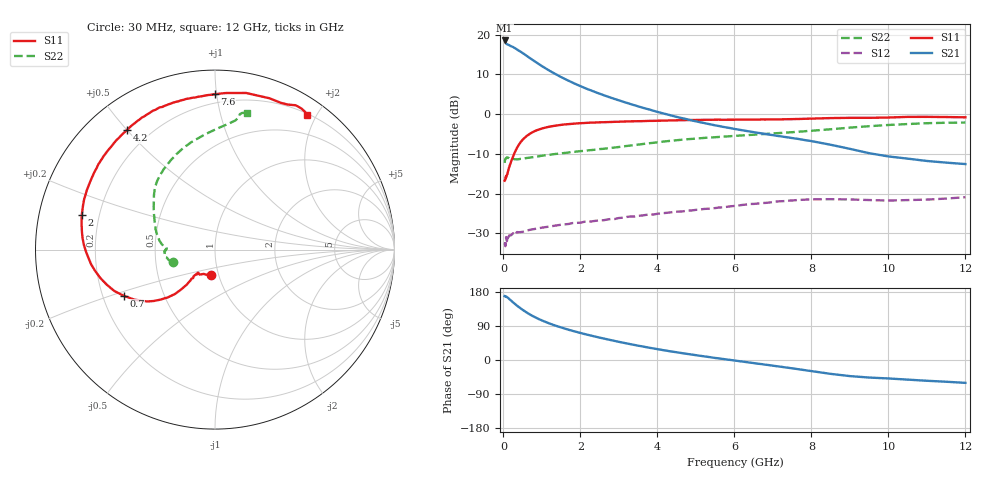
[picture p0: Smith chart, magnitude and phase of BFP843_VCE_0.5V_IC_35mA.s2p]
! Infineon Technologies  Discrete & RF Semiconductors
! BFP843
! VCE =  0.5 V,  IC =  35 mA
! Common Emitter S-Parameters:  Aug 2013
# GHz  S  MA  R  50
!  f  S11  S21  S12  S22
! GHz  MAG  ANG  MAG  ANG  MAG  ANG  MAG  ANG
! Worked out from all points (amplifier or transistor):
!   103 points, 30 MHz to 12 GHz, reference 50 ohm
!   highest |S21| = 18.5 dB at 30 MHz (marker M1)
!   |S21| within 3 dB of that: start of sweep to 472.7 MHz
!   unconditionally stable (mu >= 1): start of sweep to end of sweep
!   at 400 MHz: K = 2.03, MAG = 17.0 dB, |S12| = -29.7 dB
!   at 3.7 GHz: K = 2.42, MAG = 6.7 dB, |S12| = -25.4 dB
!   at 12 GHz: K = 2.14, MAG = -1.9 dB, |S12| = -20.9 dB
!   S11 on the Smith chart (normalised r, x): 30 MHz: 0.92, -0.27; 700 MHz: 0.29, -0.22; 2 GHz: 0.13, +0.13; 4.2 GHz: 0.12, +0.50; 7.6 GHz: 0.14, +0.99; 12 GHz: 0.22, +1.88
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0.03  0.1451 -99.1  8.424 168.5  0.0226 27.4  0.2434 -163.6
0.04  0.1487 -111.1  8.103 167.9  0.0238 19.6  0.2632 -167.0
0.05  0.1493 -115.0  7.941 168.7  0.0218 23.5  0.2742 -171.1
0.07  0.1591 -126.1  7.659 167.5  0.0284 15.3  0.2796 -172.4
0.13  0.2002 -127.5  7.437 163.0  0.0286 12.1  0.2822 -178.4
0.25  0.2928 -130.4  6.968 152.0  0.0317 11.4  0.2726 179.1
0.4  0.4113 -137.4  6.266 139.6  0.0326 13.2  0.2708 178.6
0.5  0.4768 -142.7  5.848 132.3  0.033 13.2  0.2737 178.2
0.7  0.5703 -153.2  5.007 119.4  0.0351 14.0  0.2838 176.9
0.9  0.6341 -162.1  4.31 108.9  0.0365 13.5  0.2934 174.9
1.2  0.6948 -173.2  3.5 96.2  0.0385 15.1  0.3076 172.0
1.6  0.7408 175.0  2.756 82.7  0.041 15.5  0.3245 167.8
2  0.7672 165.3  2.244 71.3  0.043 15.7  0.3416 163.3
2.1  0.7714 163.1  2.139 68.7  0.0442 16.0  0.3448 162.2
3  0.8007 145.5  1.486 47.9  0.0493 16.1  0.3852 151.4
4.1  0.8255 127.7  1.033 26.9  0.0565 13.9  0.4475 139.5
4.2  0.8276 126.3  1.005 25.2  0.057 13.3  0.4531 138.7
6.1  0.8505 106.8  0.638 -2.7  0.0707 6.7  0.5345 121.5
7.6  0.8656 90.1  0.491 -23.4  0.0826 -4.2  0.5964 106.3
8.5  0.8897 78.8  0.411 -36.6  0.085 -12.7  0.6438 95.1
10.5  0.9214 60.8  0.275 -51.8  0.0828 -22.0  0.7485 79.9
12  0.9098 55.6  0.235 -60.3  0.09 -28.3  0.781 76.8
